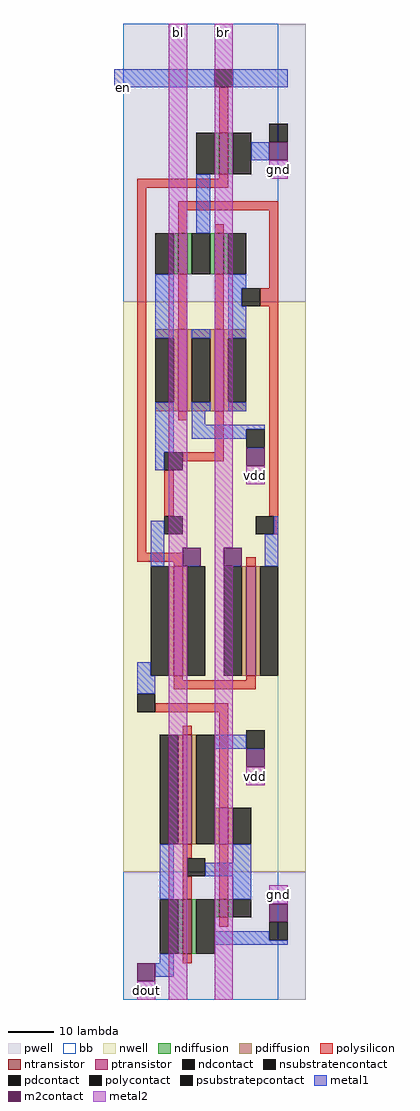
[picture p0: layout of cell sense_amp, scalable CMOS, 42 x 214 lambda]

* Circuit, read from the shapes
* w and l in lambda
.subckt sense_amp bl br dout en gnd vdd
M1 n1 n2 n3 gnd nfet w=9 l=2
M2 gnd n4 dout gnd nfet w=12 l=2
M3 n2 n3 n1 gnd nfet w=9 l=2
M4 n4 n3 gnd gnd nfet w=4 l=2
M5 gnd en n1 gnd nfet w=9 l=2
M6 bl en n3 vdd pfet w=24 l=2
M7 vdd n2 n3 vdd pfet w=18 l=2
M8 vdd n4 dout vdd pfet w=24 l=2
M9 n2 n3 vdd vdd pfet w=18 l=2
M10 n4 n3 vdd vdd pfet w=8 l=2
M11 n2 en br vdd pfet w=24 l=2
.ends

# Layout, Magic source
magic
tech scmos
<< nwell >>
rect 0 28 40 153
<< pwell >>
rect 0 153 40 214
rect 0 0 40 28
<< ntransistor >>
rect 21 181 23 190
rect 12 159 14 168
rect 20 159 22 168
rect 13 10 15 22
rect 21 18 23 22
<< ptransistor >>
rect 12 129 14 147
rect 20 129 22 147
rect 11 71 13 95
rect 27 71 29 95
rect 13 34 15 58
rect 21 34 23 42
<< ndiffusion >>
rect 20 181 21 190
rect 23 181 24 190
rect 11 159 12 168
rect 14 159 15 168
rect 19 159 20 168
rect 22 159 23 168
rect 12 10 13 22
rect 15 10 16 22
rect 20 18 21 22
rect 23 18 24 22
<< pdiffusion >>
rect 7 145 12 147
rect 11 131 12 145
rect 7 129 12 131
rect 14 145 20 147
rect 14 131 15 145
rect 19 131 20 145
rect 14 129 20 131
rect 22 145 27 147
rect 22 131 23 145
rect 22 129 27 131
rect 10 71 11 95
rect 13 71 14 95
rect 26 71 27 95
rect 29 71 30 95
rect 12 34 13 58
rect 15 34 16 58
rect 20 34 21 42
rect 23 34 24 42
<< ndcontact >>
rect 16 181 20 190
rect 24 181 28 190
rect 7 159 11 168
rect 15 159 19 168
rect 23 159 27 168
rect 8 10 12 22
rect 16 10 20 22
rect 24 18 28 22
<< pdcontact >>
rect 7 131 11 145
rect 15 131 19 145
rect 23 131 27 145
rect 6 71 10 95
rect 14 71 18 95
rect 22 71 26 95
rect 30 71 34 95
rect 8 34 12 58
rect 16 34 20 58
rect 24 34 28 42
<< psubstratepcontact >>
rect 32 188 36 192
rect 32 13 36 17
<< nsubstratencontact >>
rect 27 121 31 125
rect 27 55 31 59
<< polysilicon >>
rect 21 190 23 200
rect 21 180 23 181
rect 3 178 23 180
rect 3 98 5 178
rect 12 173 34 175
rect 12 168 14 173
rect 20 168 22 170
rect 12 147 14 159
rect 20 147 22 159
rect 32 156 34 173
rect 30 152 34 156
rect 12 127 14 129
rect 20 120 22 129
rect 13 118 22 120
rect 9 106 11 116
rect 32 106 34 152
rect 33 102 34 106
rect 3 96 13 98
rect 11 95 13 96
rect 27 95 29 97
rect 11 70 13 71
rect 27 70 29 71
rect 11 68 29 70
rect 7 63 23 65
rect 13 58 15 60
rect 21 42 23 63
rect 13 31 15 34
rect 13 27 14 31
rect 13 22 15 27
rect 21 22 23 34
rect 21 16 23 18
rect 13 8 15 10
<< polycontact >>
rect 20 200 24 204
rect 26 152 30 156
rect 9 116 13 120
rect 9 102 13 106
rect 29 102 33 106
rect 3 63 7 67
rect 14 27 18 31
<< metal1 >>
rect -2 200 20 204
rect 24 200 36 204
rect 28 184 32 188
rect 16 168 19 181
rect 7 145 11 159
rect 23 156 27 159
rect 23 152 26 156
rect 7 120 11 131
rect 15 145 19 147
rect 15 129 19 131
rect 23 145 27 152
rect 23 129 27 131
rect 15 126 18 129
rect 15 125 31 126
rect 15 123 27 125
rect 7 116 9 120
rect 6 95 9 105
rect 33 102 34 106
rect 31 95 34 102
rect 3 71 6 74
rect 3 67 7 71
rect 20 55 27 58
rect 8 22 11 34
rect 24 30 28 34
rect 18 27 28 30
rect 24 22 28 27
rect 20 13 32 15
rect 20 12 36 13
rect 8 8 11 10
rect 7 5 11 8
<< m2contact >>
rect 32 184 36 188
rect 27 117 31 121
rect 13 95 17 99
rect 22 95 26 99
rect 27 51 31 55
rect 32 17 36 21
rect 3 4 7 8
<< metal2 >>
rect 10 99 14 214
rect 20 99 24 214
rect 32 180 36 184
rect 27 113 31 117
rect 10 95 13 99
rect 20 95 22 99
rect 3 0 7 4
rect 10 0 14 95
rect 20 0 24 95
rect 27 47 31 51
rect 32 21 36 25
<< bb >>
rect 0 0 34 214
<< labels >>
rlabel metal2 5 2 5 2 1 dout
rlabel metal2 29 49 29 49 1 vdd
rlabel metal2 22 212 22 212 5 br
rlabel metal2 12 212 12 212 5 bl
rlabel metal2 29 115 29 115 1 vdd
rlabel metal2 34 182 34 182 1 gnd
flabel metal1 0 200 0 200 4 FreeSans 26 0 0 0 en
rlabel metal2 34 23 34 23 1 gnd
<< properties >>
string path 270.000 468.000 270.000 486.000 288.000 486.000 288.000 468.000 270.000 468.000 
<< end >>
